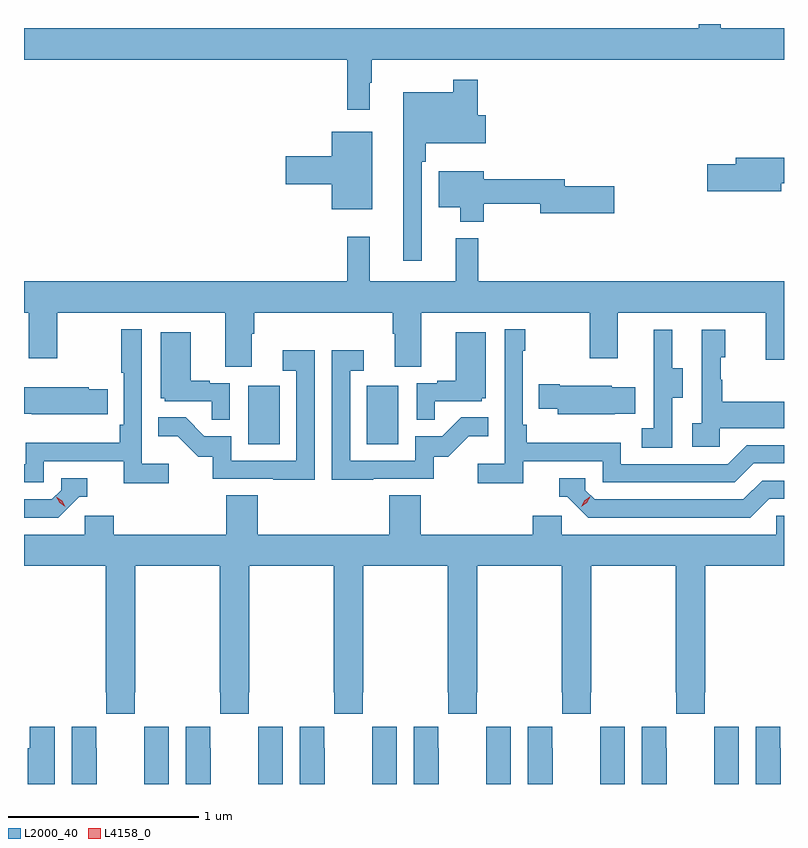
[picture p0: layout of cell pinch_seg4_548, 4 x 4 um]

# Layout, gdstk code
import gdstk
lib = gdstk.Library(unit=1e-6, precision=1e-09)
def R(c, l, rs):  # rectangles x0, y0, x1, y1
    for r in rs: c.add(gdstk.rectangle(r[:2], r[2:], *l))
def P(c, l, *ps):  # polygons
    for p in ps: c.add(gdstk.Polygon(p, *l))
L2000_40 = (2000, 40)
L4158_0 = (4158, 0)

pinch_seg4_548 = lib.new_cell('pinch_seg4_548')
R(pinch_seg4_548, L2000_40, [(1090.214,784.14,1090.378,784.447), (1090.838,784.14,1091.002,784.447)])
P(pinch_seg4_548, L2000_40, [(1090.852,786.041),(1090.864,786.041),(1090.864,786.164),(1093.033,786.164),(1093.033,786.328),(1092.701,786.328),(1092.701,786.351),(1092.583,786.351),(1092.583,786.328),(1089.033,786.328),(1089.033,786.164),(1090.735,786.164),(1090.735,785.901),(1090.852,785.901)],
  [(1091.127,785.627),(1091.147,785.627),(1091.147,785.723),(1091.464,785.723),(1091.464,785.871),(1091.42,785.871),(1091.42,786.058),(1091.292,786.058),(1091.292,785.992),(1091.03,785.992),(1091.03,785.106),(1091.127,785.106)],
  [(1090.867,785.785),(1090.652,785.785),(1090.652,785.654),(1090.41,785.654),(1090.41,785.507),(1090.652,785.507),(1090.652,785.375),(1090.867,785.375)],
  [(1093.018,785.512),(1093.033,785.512),(1093.033,785.648),(1092.779,785.648),(1092.779,785.612),(1092.63,785.612),(1092.63,785.47),(1093.018,785.47)],
  [(1091.452,785.406),(1091.75,785.406),(1091.75,785.356),(1092.139,785.356),(1092.139,785.498),(1091.878,785.498),(1091.878,785.534),(1091.452,785.534),(1091.452,785.575),(1091.216,785.575),(1091.216,785.387),(1091.33,785.387),(1091.33,785.309),(1091.452,785.309)],
  [(1090.231,784.72),(1090.244,784.72),(1090.244,784.832),(1090.973,784.832),(1090.973,784.72),(1090.985,784.72),(1090.985,784.546),(1091.125,784.546),(1091.125,784.832),(1092.01,784.832),(1092.01,784.593),(1092.157,784.593),(1092.157,784.832),(1092.938,784.832),(1092.938,784.584),(1093.033,784.584),(1093.033,784.996),(1091.423,784.996),(1091.423,785.224),(1091.306,785.224),(1091.306,784.996),(1090.853,784.996),(1090.853,785.23),(1090.735,785.23),(1090.735,784.996),(1089.033,784.996),(1089.033,784.832),(1089.059,784.832),(1089.059,784.593),(1089.207,784.593),(1089.207,784.832),(1090.091,784.832),(1090.091,784.546),(1090.231,784.546)],
  [(1089.796,784.036),(1089.654,784.036),(1089.654,784.744),(1089.546,784.744),(1089.546,784.516),(1089.558,784.516),(1089.558,784.243),(1089.538,784.243),(1089.538,784.147),(1089.042,784.147),(1089.042,784.035),(1089.033,784.035),(1089.033,783.939),(1089.138,783.939),(1089.138,784.05),(1089.557,784.05),(1089.557,783.934),(1089.796,783.934)],
  [(1091.66,784.05),(1092.078,784.05),(1092.078,783.939),(1092.775,783.939),(1092.874,784.038),(1093.033,784.038),(1093.033,784.134),(1092.837,784.134),(1092.738,784.035),(1092.174,784.035),(1092.174,784.147),(1091.678,784.147),(1091.678,784.243),(1091.658,784.243),(1091.658,784.631),(1091.671,784.631),(1091.671,784.744),(1091.562,784.744),(1091.562,784.036),(1091.421,784.036),(1091.421,783.934),(1091.66,783.934)],
  [(1092.696,784.223),(1093.033,784.223),(1093.033,784.363),(1092.709,784.363),(1092.709,784.478),(1092.699,784.478),(1092.699,784.596),(1092.724,784.596),(1092.724,784.741),(1092.6,784.741),(1092.6,784.25),(1092.549,784.25),(1092.549,784.125),(1092.696,784.125)],
  [(1092.444,784.384),(1092.499,784.384),(1092.499,784.539),(1092.445,784.539),(1092.445,784.741),(1092.347,784.741),(1092.347,784.527),(1092.348,784.527),(1092.348,784.223),(1092.285,784.223),(1092.285,784.12),(1092.444,784.12)],
  [(1090.116,784.461),(1090.01,784.461),(1090.01,784.474),(1089.91,784.474),(1089.91,784.729),(1089.752,784.729),(1089.752,784.38),(1089.774,784.38),(1089.774,784.365),(1090.021,784.365),(1090.021,784.267),(1090.116,784.267)],
  [(1091.195,784.365),(1091.442,784.365),(1091.442,784.38),(1091.464,784.38),(1091.464,784.729),(1091.306,784.729),(1091.306,784.474),(1091.207,784.474),(1091.207,784.461),(1091.1,784.461),(1091.1,784.267),(1091.195,784.267)],
  [(1090.563,784.633),(1090.395,784.633),(1090.395,784.527),(1090.467,784.527),(1090.467,784.053),(1090.125,784.053),(1090.125,784.182),(1089.981,784.182),(1089.883,784.28),(1089.739,784.28),(1089.739,784.181),(1089.843,784.181),(1089.95,784.074),(1090.027,784.074),(1090.027,783.957),(1090.345,783.957),(1090.345,783.952),(1090.563,783.952)],
  [(1090.871,783.957),(1091.19,783.957),(1091.19,784.074),(1091.266,784.074),(1091.373,784.181),(1091.477,784.181),(1091.477,784.28),(1091.333,784.28),(1091.235,784.182),(1091.091,784.182),(1091.091,784.053),(1090.749,784.053),(1090.749,784.527),(1090.822,784.527),(1090.822,784.633),(1090.653,784.633),(1090.653,783.952),(1090.871,783.952)],
  [(1092.143,784.301),(1092.251,784.301),(1092.251,784.438),(1092.126,784.438),(1092.126,784.447),(1091.854,784.447),(1091.854,784.455),(1091.743,784.455),(1091.743,784.325),(1091.841,784.325),(1091.841,784.298),(1092.143,784.298)],
  [(1089.473,784.428),(1089.375,784.428),(1089.375,784.438),(1089.033,784.438),(1089.033,784.301),(1089.073,784.301),(1089.073,784.298),(1089.473,784.298)],
  [(1092.955,783.852),(1093.033,783.852),(1093.033,783.948),(1092.918,783.948),(1092.819,783.849),(1092.036,783.849),(1091.988,783.897),(1091.988,783.96),(1091.849,783.96),(1091.849,783.864),(1091.892,783.864),(1092.003,783.753),(1092.856,783.753)],
  [(1089.324,783.864),(1089.367,783.864),(1089.367,783.96),(1089.228,783.96),(1089.228,783.897),(1089.18,783.849),(1089.033,783.849),(1089.033,783.753),(1089.213,783.753)],
  [(1089.615,782.833),(1089.618,782.833),(1089.618,783.5),(1090.063,783.5),(1090.063,782.833),(1090.065,782.833),(1090.065,782.721),(1090.215,782.721),(1090.215,782.833),(1090.218,782.833),(1090.218,783.5),(1090.663,783.5),(1090.663,782.833),(1090.665,782.833),(1090.665,782.721),(1090.815,782.721),(1090.815,782.833),(1090.818,782.833),(1090.818,783.5),(1091.263,783.5),(1091.263,782.833),(1091.265,782.833),(1091.265,782.721),(1091.415,782.721),(1091.415,782.833),(1091.418,782.833),(1091.418,783.5),(1091.863,783.5),(1091.863,782.833),(1091.865,782.833),(1091.865,782.721),(1092.015,782.721),(1092.015,782.833),(1092.018,782.833),(1092.018,783.5),(1092.463,783.5),(1092.463,782.833),(1092.465,782.833),(1092.465,782.721),(1092.615,782.721),(1092.615,782.833),(1092.618,782.833),(1092.618,783.5),(1093.033,783.5),(1093.033,783.762),(1092.993,783.762),(1092.993,783.664),(1091.862,783.664),(1091.862,783.762),(1091.711,783.762),(1091.711,783.664),(1091.12,783.664),(1091.12,783.872),(1090.955,783.872),(1090.955,783.664),(1090.262,783.664),(1090.262,783.872),(1090.097,783.872),(1090.097,783.664),(1089.506,783.664),(1089.506,783.762),(1089.354,783.762),(1089.354,783.664),(1089.033,783.664),(1089.033,783.5),(1089.463,783.5),(1089.463,782.833),(1089.465,782.833),(1089.465,782.721),(1089.615,782.721)],
  [(1090.396,782.653),(1090.266,782.653),(1090.266,782.54),(1090.265,782.54),(1090.265,782.351),(1090.396,782.351)],
  [(1090.996,782.653),(1090.866,782.653),(1090.866,782.54),(1090.865,782.54),(1090.865,782.351),(1090.996,782.351)],
  [(1090.615,782.54),(1090.614,782.54),(1090.614,782.653),(1090.484,782.653),(1090.484,782.351),(1090.615,782.351)],
  [(1089.196,782.653),(1089.062,782.653),(1089.062,782.54),(1089.053,782.54),(1089.053,782.351),(1089.196,782.351)],
  [(1091.215,782.54),(1091.214,782.54),(1091.214,782.653),(1091.084,782.653),(1091.084,782.351),(1091.215,782.351)],
  [(1093.015,782.54),(1093.014,782.54),(1093.014,782.653),(1092.884,782.653),(1092.884,782.351),(1093.015,782.351)],
  [(1092.796,782.653),(1092.666,782.653),(1092.666,782.54),(1092.665,782.54),(1092.665,782.351),(1092.796,782.351)],
  [(1092.415,782.54),(1092.414,782.54),(1092.414,782.653),(1092.284,782.653),(1092.284,782.351),(1092.415,782.351)],
  [(1092.196,782.653),(1092.066,782.653),(1092.066,782.54),(1092.065,782.54),(1092.065,782.351),(1092.196,782.351)],
  [(1091.815,782.54),(1091.814,782.54),(1091.814,782.653),(1091.684,782.653),(1091.684,782.351),(1091.815,782.351)],
  [(1091.596,782.653),(1091.466,782.653),(1091.466,782.54),(1091.465,782.54),(1091.465,782.351),(1091.596,782.351)],
  [(1089.796,782.653),(1089.666,782.653),(1089.666,782.54),(1089.665,782.54),(1089.665,782.351),(1089.796,782.351)],
  [(1089.415,782.54),(1089.414,782.54),(1089.414,782.653),(1089.284,782.653),(1089.284,782.351),(1089.415,782.351)],
  [(1089.884,782.653),(1089.884,782.351),(1090.015,782.351),(1090.015,782.54),(1090.014,782.54),(1090.014,782.653)])
P(pinch_seg4_548, L4158_0, [(1091.966,783.81),(1091.966,783.81),(1091.981,783.843),(1092.011,783.863),(1092.012,783.863),(1092.012,783.863),(1091.996,783.83),(1091.966,783.81)],
  [(1089.25,783.81),(1089.22,783.83),(1089.204,783.863),(1089.204,783.863),(1089.204,783.863),(1089.235,783.843),(1089.25,783.81),(1089.25,783.81)])

lib.write_gds('pinch_seg4_548.gds')
